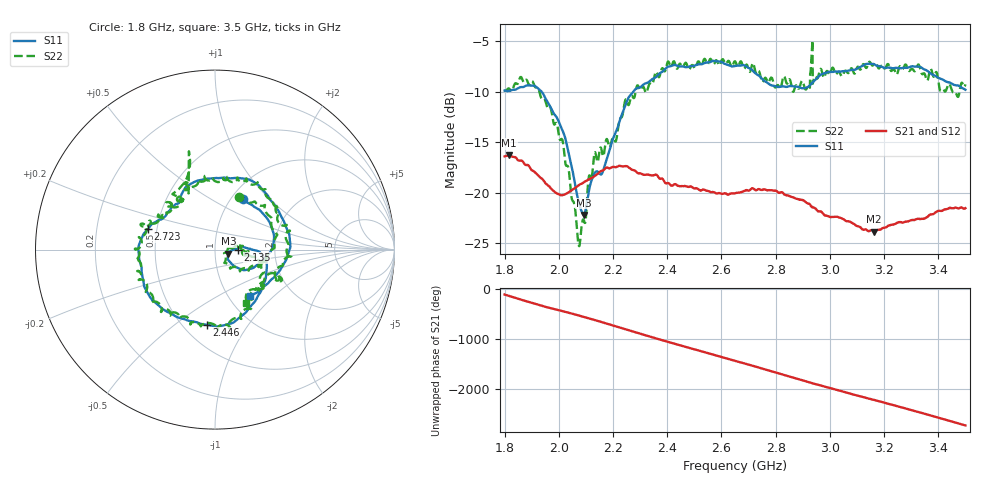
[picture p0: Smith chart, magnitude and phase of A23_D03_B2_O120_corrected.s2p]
! Created with skrf 1.9.0 (http://scikit-rf.org).
# Hz S RI R 50.0
!freq ReS11 ImS11 ReS21 ImS21 ReS12 ImS12 ReS22 ImS22
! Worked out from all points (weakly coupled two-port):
!   1601 points, 1.8 GHz to 3.5 GHz, reference 50 ohm
!   highest |S21| = -16.32 dB at 1.817 GHz (marker M1); lowest = -23.9 dB at 3.163 GHz (marker M2)
!   lowest |S11| = -22.2 dB at 2.092 GHz (marker M3), VSWR 1.17, Z = 58 - j2.63 ohm
!   |S11| at or under -10 dB: 1.936 GHz to 2.275 GHz (338.8 MHz wide, 16.1 % of centre)
!   |S22| runs from -25.3 to -4.9 dB; largest |S21 - S12| = 0.0026
!   S11 on the Smith chart (normalised r, x): 1.8 GHz: 1.13, +0.71; 2.135 GHz: 1.29, -0.00; 2.446 GHz: 0.65, -0.66; 2.723 GHz: 0.44, +0.12; 3.5 GHz: 1.26, -0.72
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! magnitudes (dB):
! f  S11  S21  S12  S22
! 1.8 GHz  -9.9  -16.4  -16.4  -9.9
! 1.817 GHz  -9.9  -16.3  -16.3  -9.7
! 1.903 GHz  -9.4  -17.8  -17.8  -9.0
! 1.968 GHz  -11.5  -19.5  -19.5  -11.6
! 2.015 GHz  -13.9  -20.2  -20.3  -15.0
! 2.072 GHz  -20.8  -19.3  -19.3  -25.1
! 2.084 GHz  -21.8  -19.1  -19.1  -23.4
! 2.092 GHz  -22.2  -19.0  -19.0  -22.8
! 2.135 GHz  -18.0  -18.3  -18.3  -16.0
! 2.162 GHz  -17.9  -17.8  -17.7  -16.4
! 2.26 GHz  -10.5  -17.6  -17.6  -11.2
! 2.367 GHz  -8.3  -18.5  -18.4  -8.5
! 2.446 GHz  -7.5  -19.4  -19.4  -7.2
! 2.65 GHz  -7.5  -20.1  -20.0  -7.0
! 2.723 GHz  -8.1  -19.7  -19.7  -7.8
! 2.867 GHz  -9.5  -20.5  -20.5  -10.0
! 2.918 GHz  -9.6  -21.1  -21.1  -9.6
! 2.934 GHz  -9.2  -21.4  -21.4  -5.8
! 3.163 GHz  -7.3  -23.9  -23.8  -7.2
! 3.217 GHz  -7.6  -23.3  -23.2  -7.4
! 3.468 GHz  -9.4  -21.5  -21.5  -10.3
! 3.5 GHz  -9.8  -21.5  -21.5  -9.3
